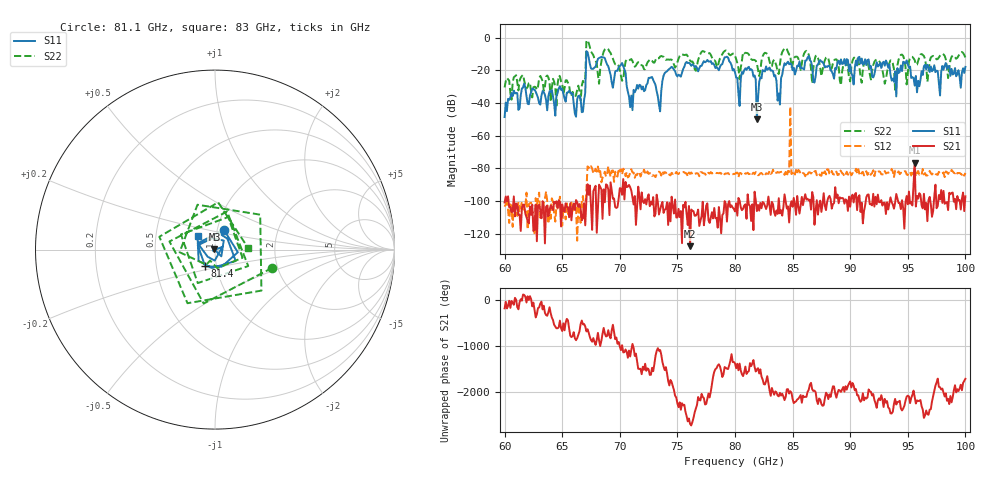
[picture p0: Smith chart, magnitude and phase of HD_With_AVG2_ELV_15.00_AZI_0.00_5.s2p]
! 11/25/2026 10:12:03 AM
! C:\ANRITSUVNA\TEMP\TEMP.S2P
! CHANNEL.1
! TR.MEASUREMENT
! RAW.DATA
# HZ S RI R 50.0
! FREQ.HZ  S11RE  S11IM  S21RE  S21IM  S12RE  S12IM  S22RE  S22IM
!; PortSelection: Port_12
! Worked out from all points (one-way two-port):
!   401 points, 60 GHz to 100 GHz, reference 50 ohm
!   highest |S21| = -76.58 dB at 95.6 GHz (marker M1); lowest = -127.7 dB at 76.1 GHz (marker M2)
!   lowest |S11| = -50.0 dB at 81.9 GHz (marker M3), VSWR 1.01, Z = 49.7 + j0.0916 ohm
!   |S11| at or under -10 dB: start of sweep to 67.09 GHz; 67.23 GHz to end of sweep
!   |S22| runs from -42.8 to -1.7 dB; largest |S21 - S12| = 0.0078
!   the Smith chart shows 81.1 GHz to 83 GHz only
!   S11 on the Smith chart (normalised r, x): 81.1 GHz: 1.08, +0.24; 81.4 GHz: 0.88, -0.17; 83 GHz: 0.81, +0.12
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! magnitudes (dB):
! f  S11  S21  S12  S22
! 60 GHz  -48.6  -100.9  -103.5  -30.5
! 61.6 GHz  -30.6  -102.3  -105.1  -22.8
! 66.7 GHz  -45.7  -111.9  -100.0  -29.5
! 67.3 GHz  -12.1  -96.2  -79.5  -3.2
! 68.4 GHz  -11.8  -92.9  -88.6  -14.7
! 70.3 GHz  -17.5  -86.6  -80.2  -25.5
! 70.9 GHz  -42.5  -91.6  -82.6  -13.5
! 72.7 GHz  -24.4  -100.4  -83.0  -13.3
! 73.4 GHz  -41.1  -108.3  -82.1  -12.6
! 74.1 GHz  -20.6  -100.8  -84.0  -13.4
! 76.1 GHz  -16.0  -127.7  -83.4  -14.1
! 80 GHz  -21.2  -106.4  -83.4  -11.1
! 81.1 GHz  -18.4  -96.0  -82.7  -9.5
! 81.4 GHz  -19.3  -112.3  -82.3  -13.1
! 81.9 GHz  -50.0  -106.2  -82.9  -15.9
! 83 GHz  -18.3  -102.9  -81.7  -14.6
! 83.8 GHz  -34.1  -98.3  -82.6  -22.3
! 84.4 GHz  -16.7  -100.5  -82.2  -6.2
! 86.7 GHz  -17.5  -94.5  -82.9  -28.0
! 93.4 GHz  -16.3  -101.4  -82.4  -15.6
! 95.6 GHz  -29.3  -76.6  -79.1  -13.7
! 100 GHz  -17.9  -97.2  -82.9  -12.1
